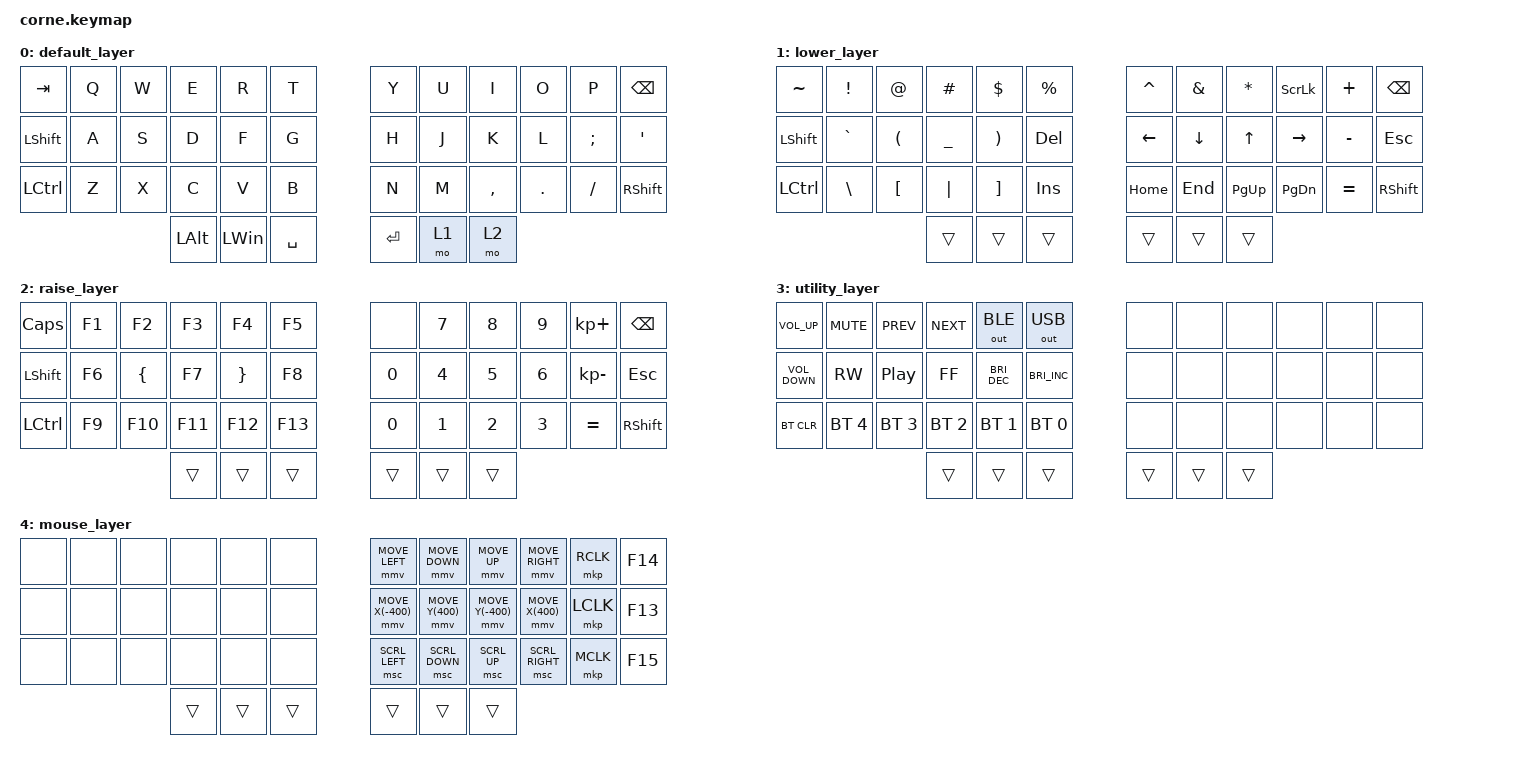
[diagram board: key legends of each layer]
/*
 * Copyright (c) 2020 The ZMK Contributors
 *
 * SPDX-License-Identifier: MIT
 */
/* Mouse customization */

#define ZMK_POINTING_DEFAULT_MOVE_VAL 1500  // default: 600
#define ZMK_POINTING_DEFAULT_SCRL_VAL 20    // default: 10

#include <behaviors.dtsi>
#include <dt-bindings/zmk/bt.h>
#include <dt-bindings/zmk/keys.h>
#include <dt-bindings/zmk/outputs.h>
#include <dt-bindings/zmk/pointing.h>

/ {
    combos {
        compatible = "zmk,combos";

        utility_layer {
            bindings = <&mo 3>;
            key-positions = <41 40>;
        };

        mouse_layer {
            bindings = <&mo 4>;
            key-positions = <36 37>;
        };
    };

    keymap {
        compatible = "zmk,keymap";

        default_layer {
            bindings = <
&kp TAB         &kp Q  &kp W  &kp E         &kp R         &kp T        &kp Y    &kp U  &kp I      &kp O    &kp P     &kp BSPC
&kp LEFT_SHIFT  &kp A  &kp S  &kp D         &kp F         &kp G        &kp H    &kp J  &kp K      &kp L    &kp SEMI  &kp SQT
&kp LCTRL       &kp Z  &kp X  &kp C         &kp V         &kp B        &kp N    &kp M  &kp COMMA  &kp DOT  &kp FSLH  &kp RIGHT_SHIFT
                              &kp LEFT_ALT  &kp LEFT_WIN  &kp SPACE    &kp RET  &mo 1  &mo 2
            >;
        };

        lower_layer {
            bindings = <
&kp TILDE         &kp EXCL       &kp AT                &kp HASH        &kp DLLR               &kp PRCNT     &kp CARET  &kp AMPS        &kp ASTRK     &kp SCROLLLOCK   &kp PLUS   &kp BSPC
&kp LEFT_SHIFT    &kp GRAVE      &kp LEFT_PARENTHESIS  &kp UNDERSCORE  &kp RIGHT_PARENTHESIS  &kp DELETE    &kp LEFT   &kp DOWN_ARROW  &kp UP_ARROW  &kp RIGHT_ARROW  &kp MINUS  &kp ESCAPE
&kp LEFT_CONTROL  &kp BACKSLASH  &kp LEFT_BRACKET      &kp PIPE        &kp RIGHT_BRACKET      &kp INSERT    &kp HOME   &kp END         &kp PAGE_UP   &kp PAGE_DOWN    &kp EQUAL  &kp RIGHT_SHIFT
                                                       &trans          &trans                 &trans        &trans     &trans          &trans
            >;
        };

        raise_layer {
            bindings = <
&kp CAPSLOCK      &kp F1  &kp F2          &kp F3   &kp F4           &kp F5     &none         &kp NUMBER_7  &kp NUMBER_8  &kp NUMBER_9  &kp KP_PLUS   &kp BSPC
&kp LEFT_SHIFT    &kp F6  &kp LEFT_BRACE  &kp F7   &kp RIGHT_BRACE  &kp F8     &kp NUMBER_0  &kp NUMBER_4  &kp NUMBER_5  &kp NUMBER_6  &kp KP_MINUS  &kp ESCAPE
&kp LEFT_CONTROL  &kp F9  &kp F10         &kp F11  &kp F12          &kp F13    &kp NUMBER_0  &kp NUMBER_1  &kp NUMBER_2  &kp NUMBER_3  &kp EQUAL     &kp RIGHT_SHIFT
                                          &trans   &trans           &trans     &trans        &trans        &trans
            >;
        };

        utility_layer {
            bindings = <
&kp C_VOLUME_UP    &kp C_MUTE    &kp C_PREV        &kp C_NEXT    &out OUT_BLE          &out OUT_USB            &none   &none   &none   &none  &none  &none
&kp C_VOLUME_DOWN  &kp C_RW      &kp C_PLAY_PAUSE  &kp C_FF      &kp C_BRIGHTNESS_DEC  &kp C_BRIGHTNESS_INC    &none   &none   &none   &none  &none  &none
&bt BT_CLR         &bt BT_SEL 4  &bt BT_SEL 3      &bt BT_SEL 2  &bt BT_SEL 1          &bt BT_SEL 0            &none   &none   &none   &none  &none  &none
                                                   &trans        &trans                &trans                  &trans  &trans  &trans
            >;
        };

        mouse_layer {
            bindings = <
&none  &none  &none  &none   &none   &none     &mmv MOVE_LEFT     &mmv MOVE_DOWN    &mmv MOVE_UP       &mmv MOVE_RIGHT   &mkp RCLK  &kp F14
&none  &none  &none  &none   &none   &none     &mmv MOVE_X(-400)  &mmv MOVE_Y(400)  &mmv MOVE_Y(-400)  &mmv MOVE_X(400)  &mkp LCLK  &kp F13
&none  &none  &none  &none   &none   &none     &msc SCRL_LEFT     &msc SCRL_DOWN    &msc SCRL_UP       &msc SCRL_RIGHT   &mkp MCLK  &kp F15
                     &trans  &trans  &trans    &trans             &trans            &trans
            >;
        };
    };
};
